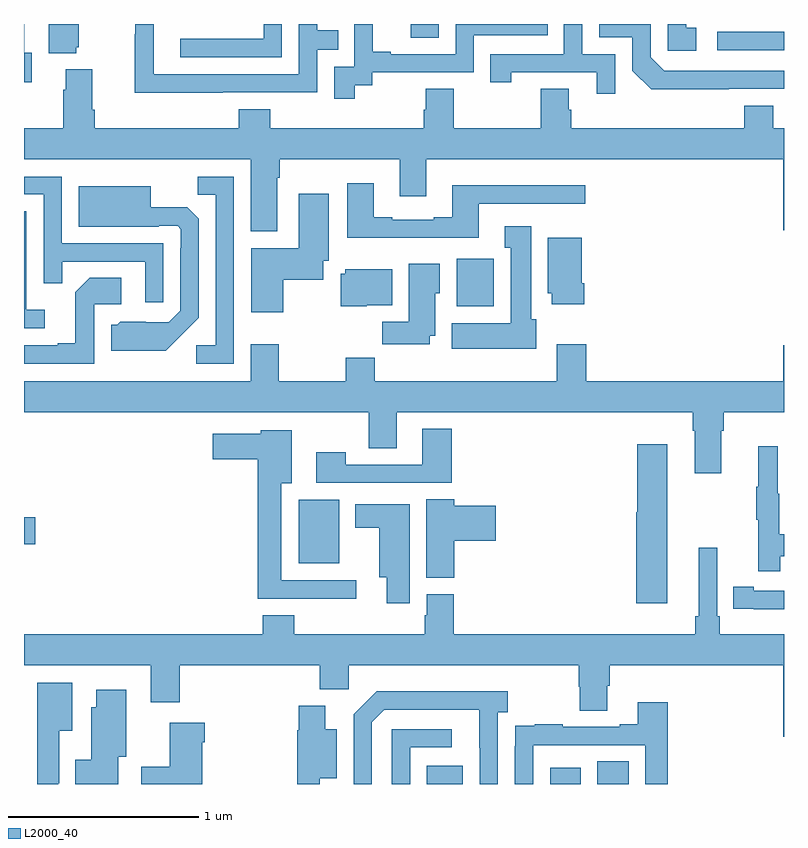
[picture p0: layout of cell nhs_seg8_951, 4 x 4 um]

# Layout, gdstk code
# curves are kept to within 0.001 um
import gdstk
lib = gdstk.Library(unit=1e-6, precision=1e-09)
def R(c, l, rs):  # rectangles x0, y0, x1, y1
    for r in rs: c.add(gdstk.rectangle(r[:2], r[2:], *l))
def P(c, l, *ps):  # polygons
    for p in ps: c.add(gdstk.Polygon(p, *l))
L2000_40 = (2000, 40)

nhs_seg8_951 = lib.new_cell('nhs_seg8_951')
R(nhs_seg8_951, L2000_40, [(175.121,1091.9,175.309,1091.995), (175.769,1091.9,175.93,1091.986), (176.018,1091.9,176.182,1092.02), (174.446,1093.061,174.658,1093.396), (173,1093.162,173.059,1093.304), (175.277,1094.414,175.473,1094.665), (176.649,1095.762,177,1095.858), (175.035,1095.828,175.182,1095.9)])
P(nhs_seg8_951, L2000_40, [(176.112,1095.741),(175.938,1095.741),(175.938,1095.9),(175.842,1095.9),(175.842,1095.741),(175.453,1095.741),(175.453,1095.594),(175.564,1095.594),(175.564,1095.645),(176.015,1095.645),(176.015,1095.534),(176.112,1095.534)],
  [(176.708,1095.558),(177,1095.558),(177,1095.654),(176.37,1095.654),(176.298,1095.726),(176.298,1095.9),(176.028,1095.9),(176.028,1095.831),(176.202,1095.831),(176.202,1095.654),(176.3,1095.557),(176.708,1095.557)],
  [(174.742,1095.577),(174.834,1095.577),(174.834,1095.645),(175.368,1095.645),(175.368,1095.84),(175.757,1095.84),(175.757,1095.9),(175.272,1095.9),(175.272,1095.741),(174.931,1095.741),(174.931,1095.754),(174.836,1095.754),(174.836,1095.9),(174.738,1095.9),(174.738,1095.675),(174.633,1095.675),(174.633,1095.507),(174.742,1095.507)],
  [(174.357,1095.9),(174.261,1095.9),(174.261,1095.822),(173.823,1095.822),(173.823,1095.726),(174.357,1095.726)],
  [(173.276,1095.777),(173.287,1095.777),(173.287,1095.9),(173.129,1095.9),(173.129,1095.746),(173.276,1095.746)],
  [(176.539,1095.879),(176.486,1095.879),(176.486,1095.9),(176.388,1095.9),(176.388,1095.759),(176.539,1095.759)],
  [(173.041,1095.75),(173.001,1095.75),(173.001,1095.9),(173,1095.9),(173,1095.594),(173.041,1095.594)],
  [(174.047,1095.54),(174.543,1095.54),(174.543,1095.765),(174.653,1095.765),(174.653,1095.866),(174.543,1095.866),(174.543,1095.9),(174.447,1095.9),(174.447,1095.636),(173.682,1095.636),(173.682,1095.9),(173.586,1095.9),(173.586,1095.845),(173.584,1095.845),(173.584,1095.539),(174.047,1095.539)],
  [(174.334,1095.092),(174.347,1095.092),(174.347,1095.188),(174.977,1095.188),(174.977,1094.994),(175.117,1094.994),(175.117,1095.188),(176.996,1095.188),(176.996,1094.814),(177,1094.814),(177,1095.352),(176.944,1095.352),(176.944,1095.469),(176.792,1095.469),(176.792,1095.352),(175.88,1095.352),(175.88,1095.45),(175.867,1095.45),(175.867,1095.56),(175.72,1095.56),(175.72,1095.352),(175.263,1095.352),(175.263,1095.56),(175.115,1095.56),(175.115,1095.45),(175.103,1095.45),(175.103,1095.352),(174.296,1095.352),(174.296,1095.451),(174.131,1095.451),(174.131,1095.352),(173.372,1095.352),(173.372,1095.448),(173.359,1095.448),(173.359,1095.661),(173.219,1095.661),(173.219,1095.554),(173.207,1095.554),(173.207,1095.352),(173,1095.352),(173,1095.188),(174.194,1095.188),(174.194,1094.808),(174.334,1094.808)],
  [(174.105,1095.096),(173.914,1095.096),(173.914,1095.001),(174.009,1095.001),(174.009,1094.208),(173.907,1094.208),(173.907,1094.112),(174.105,1094.112)],
  [(173.733,1094.745),(173.199,1094.745),(173.199,1095.096),(173,1095.096),(173,1095.003),(173.103,1095.003),(173.103,1094.536),(173.201,1094.536),(173.201,1094.649),(173.637,1094.649),(173.637,1094.436),(173.733,1094.436)],
  [(175.393,1094.955),(175.954,1094.955),(175.954,1095.052),(175.253,1095.052),(175.253,1094.884),(175.157,1094.884),(175.157,1094.871),(174.937,1094.871),(174.937,1094.884),(174.841,1094.884),(174.841,1095.061),(174.701,1095.061),(174.701,1094.774),(175.393,1094.774)],
  [(173.827,1094.261),(173.919,1094.354),(173.919,1094.876),(173.86,1094.935),(173.668,1094.935),(173.668,1095.046),(173.288,1095.046),(173.288,1094.834),(173.708,1094.834),(173.708,1094.838),(173.808,1094.838),(173.826,1094.82),(173.826,1094.72),(173.823,1094.72),(173.823,1094.391),(173.763,1094.331),(173.506,1094.332),(173.49,1094.316),(173.459,1094.316),(173.459,1094.18),(173.747,1094.18)],
  [(174.364,1094.555),(174.574,1094.555),(174.574,1094.654),(174.604,1094.654),(174.604,1095.007),(174.446,1095.007),(174.446,1094.719),(174.197,1094.719),(174.197,1094.382),(174.364,1094.382)],
  [(173.11,1094.395),(173.013,1094.395),(173.013,1094.915),(173,1094.915),(173,1094.298),(173.11,1094.298)],
  [(175.696,1094.346),(175.669,1094.346),(175.669,1094.836),(175.529,1094.836),(175.529,1094.723),(175.562,1094.723),(175.562,1094.326),(175.25,1094.326),(175.25,1094.192),(175.696,1094.192)],
  [(175.949,1094.536),(175.936,1094.536),(175.936,1094.776),(175.757,1094.776),(175.757,1094.484),(175.778,1094.484),(175.778,1094.424),(175.949,1094.424)],
  [(175.135,1094.258),(175.165,1094.258),(175.165,1094.484),(175.189,1094.484),(175.189,1094.638),(175.025,1094.638),(175.025,1094.332),(174.886,1094.332),(174.886,1094.214),(175.135,1094.214)],
  [(174.804,1094.42),(174.937,1094.42),(174.937,1094.608),(174.69,1094.608),(174.69,1094.586),(174.668,1094.586),(174.668,1094.414),(174.804,1094.414)],
  [(173.37,1094.424),(173.512,1094.424),(173.512,1094.564),(173.347,1094.564),(173.271,1094.488),(173.271,1094.221),(173.177,1094.221),(173.177,1094.208),(173,1094.208),(173,1094.112),(173.37,1094.112)],
  [(176.671,1093.76),(176.684,1093.76),(176.684,1093.856),(177,1093.856),(177,1094.209),(176.996,1094.209),(176.996,1094.02),(175.958,1094.02),(175.958,1094.215),(175.805,1094.215),(175.805,1094.02),(174.845,1094.02),(174.845,1094.144),(174.694,1094.144),(174.694,1094.02),(174.342,1094.02),(174.342,1094.215),(174.194,1094.215),(174.194,1094.02),(173,1094.02),(173,1093.856),(174.814,1093.856),(174.814,1093.666),(174.961,1093.666),(174.961,1093.856),(176.519,1093.856),(176.519,1093.76),(176.531,1093.76),(176.531,1093.536),(176.671,1093.536)],
  [(175.25,1093.771),(175.097,1093.771),(175.097,1093.581),(174.693,1093.581),(174.693,1093.645),(174.537,1093.645),(174.537,1093.485),(175.25,1093.485)],
  [(174.748,1092.972),(174.355,1092.972),(174.355,1093.484),(174.409,1093.484),(174.409,1093.762),(174.246,1093.762),(174.246,1093.744),(173.994,1093.744),(173.994,1093.61),(174.23,1093.61),(174.23,1092.875),(174.748,1092.875)],
  [(176.386,1093.687),(176.228,1093.687),(176.228,1093.329),(176.222,1093.329),(176.222,1092.852),(176.386,1092.852)],
  [(176.981,1093.098),(177,1093.098),(177,1093.214),(176.974,1093.214),(176.974,1093.428),(176.966,1093.428),(176.966,1093.678),(176.864,1093.678),(176.864,1093.465),(176.853,1093.465),(176.853,1093.291),(176.864,1093.291),(176.864,1093.02),(176.981,1093.02)],
  [(175.265,1093.181),(175.483,1093.181),(175.483,1093.364),(175.265,1093.364),(175.265,1093.4),(175.118,1093.4),(175.118,1092.985),(175.265,1092.985)],
  [(175.03,1093.372),(174.743,1093.372),(174.743,1093.25),(174.869,1093.25),(174.869,1092.989),(174.908,1092.989),(174.908,1092.852),(175.03,1092.852)],
  [(177,1092.688),(176.663,1092.688),(176.663,1092.784),(176.649,1092.784),(176.649,1093.144),(176.552,1093.144),(176.552,1092.784),(176.533,1092.784),(176.533,1092.688),(175.262,1092.688),(175.262,1092.9),(175.121,1092.9),(175.121,1092.789),(175.109,1092.789),(175.109,1092.688),(174.422,1092.688),(174.422,1092.787),(174.257,1092.787),(174.257,1092.688),(173,1092.688),(173,1092.524),(173.666,1092.524),(173.666,1092.33),(173.819,1092.33),(173.819,1092.524),(174.557,1092.524),(174.557,1092.398),(174.708,1092.398),(174.708,1092.524),(175.919,1092.524),(175.919,1092.411),(175.924,1092.411),(175.924,1092.286),(176.071,1092.286),(176.071,1092.418),(176.084,1092.418),(176.084,1092.524),(176.996,1092.524),(176.996,1092.15),(177,1092.15)],
  [(177,1092.918),(176.842,1092.918),(176.842,1092.938),(176.734,1092.938),(176.734,1092.822),(176.842,1092.822),(176.842,1092.821),(177,1092.821)],
  [(173.181,1091.905),(173.185,1091.905),(173.185,1092.179),(173.254,1092.179),(173.254,1092.433),(173.069,1092.433),(173.069,1091.9),(173.181,1091.9)],
  [(173.497,1092.044),(173.539,1092.044),(173.539,1092.397),(173.381,1092.397),(173.381,1092.303),(173.354,1092.303),(173.354,1092.028),(173.27,1092.028),(173.27,1091.9),(173.497,1091.9)],
  [(174.831,1092.225),(174.897,1092.291),(175.397,1092.291),(175.398,1091.9),(175.494,1091.9),(175.494,1092.278),(175.546,1092.278),(175.546,1092.388),(174.856,1092.388),(174.735,1092.267),(174.735,1091.9),(174.831,1091.9)],
  [(175.68,1092.105),(176.271,1092.105),(176.271,1091.9),(176.387,1091.9),(176.387,1092.331),(176.231,1092.331),(176.231,1092.214),(176.135,1092.214),(176.135,1092.201),(175.835,1092.201),(175.835,1092.214),(175.687,1092.214),(175.687,1092.207),(175.585,1092.207),(175.585,1092.098),(175.584,1092.098),(175.584,1091.9),(175.68,1091.9)],
  [(174.557,1091.93),(174.646,1091.93),(174.646,1092.187),(174.586,1092.187),(174.586,1092.313),(174.446,1092.313),(174.446,1092.183),(174.439,1092.183),(174.439,1091.9),(174.557,1091.9)],
  [(173.938,1092.119),(173.951,1092.119),(173.951,1092.223),(173.768,1092.223),(173.768,1091.991),(173.616,1091.991),(173.616,1091.9),(173.938,1091.9)],
  [(175.032,1092.093),(175.252,1092.093),(175.252,1092.189),(174.936,1092.189),(174.936,1091.9),(175.032,1091.9)])

lib.write_gds('nhs_seg8_951.gds')
